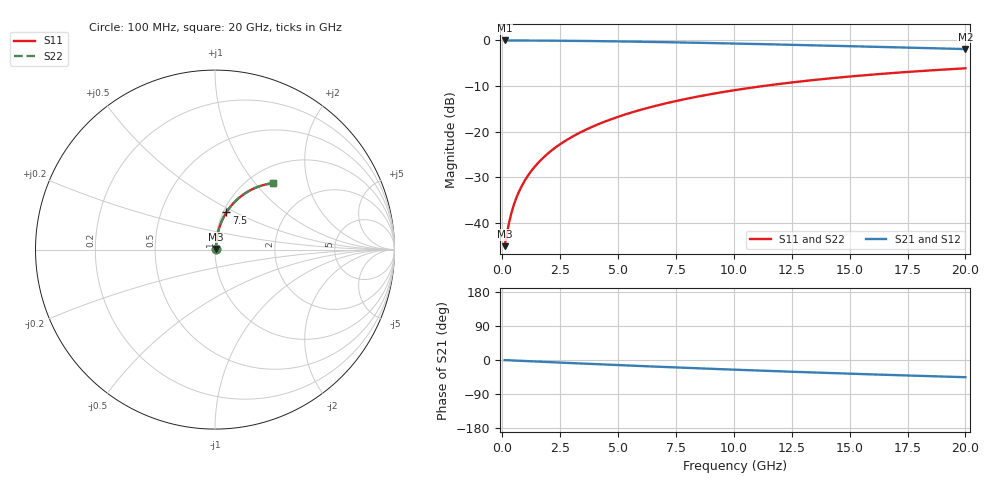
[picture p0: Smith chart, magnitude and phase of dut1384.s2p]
! Touchstone file exported from HFSS 2024.1.0
!  File:  C:/UserFiles/LocalFiles/RDL_TSV_Batchsim/temp_RDL_top_1384_1780367480.aedt
!  Generated:  10:33:32 AM Jun  2, 2026
!  Design:  RDL_top
!  Project:  temp_RDL_top_1384_1780367480
!  Setup:  Setup1
!  Solution:  Sweep
! Variables:
!  dtsv = 10.80580581um
!  hbump = 3um
!  htsv = 51.99um
!  ldown = 100um
!  lrdl = 580.41um
!  p = 40
!  p1 = 55.37um
!  rhole = 1um
!  t = 450um
!  tdown = 3.915915916um
!  trdl = 3.01um
!  wdown = 15.38538539um
!  wrdl = 14.99um
# GHz S MA R 50.000000
! Terminal data exported
! Port[1] = Box2_T1
! Port[2] = Box2_T2
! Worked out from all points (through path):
!   200 points, 100 MHz to 20 GHz, reference 50 ohm
!   highest |S21| = -0.04 dB at 100 MHz (marker M1); lowest = -1.9 dB at 20 GHz (marker M2)
!   group delay of S21, straight-line fit = 6.3 ps
!   lowest |S11| = -45.1 dB at 100 MHz (marker M3), VSWR 1.01, Z = 50.5 + j0.307 ohm
!   |S11| at or under -10 dB: start of sweep to 11.29 GHz
!   |S22| runs from -45.1 to -6.1 dB; largest |S21 - S12| = 2.4e-15
!   S11 on the Smith chart (normalised r, x): 100 MHz: 1.01, +0.01; 7.5 GHz: 1.04, +0.45; 20 GHz: 1.28, +1.25
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0.1  0.005575 33.0  0.9953 -0.3  0.9953 -0.3  0.005575 33.0
! Gamma 0 0 0 0
! Port Impedance 50 0 50 0
0.2  0.007713 51.8  0.9952 -0.6  0.9952 -0.6  0.007713 51.8
0.3  0.01029 61.4  0.9951 -0.8  0.9951 -0.8  0.01029 61.4
0.4  0.01302 67.0  0.9949 -1.1  0.9949 -1.1  0.01302 67.0
0.5  0.01581 70.4  0.9947 -1.4  0.9947 -1.4  0.01581 70.4
0.6  0.01861 72.8  0.9945 -1.7  0.9945 -1.7  0.01861 72.8
0.8  0.02425 75.9  0.9941 -2.2  0.9941 -2.2  0.02425 75.9
1.1  0.03275 78.4  0.9934 -3.0  0.9934 -3.0  0.03275 78.3
1.5  0.04415 79.9  0.9923 -4.1  0.9923 -4.1  0.04415 79.9
1.8  0.05274 80.5  0.9913 -4.9  0.9913 -4.9  0.05274 80.5
2.1  0.06137 80.7  0.9902 -5.8  0.9902 -5.8  0.06137 80.7
2.7  0.07868 80.7  0.9875 -7.4  0.9875 -7.4  0.07868 80.7
3.5  0.1018 80.0  0.983 -9.5  0.983 -9.5  0.1018 80.0
4.2  0.1221 79.1  0.9783 -11.3  0.9783 -11.3  0.1221 79.1
5  0.1452 77.8  0.9722 -13.4  0.9722 -13.4  0.1452 77.8
6.8  0.1966 74.5  0.956 -17.9  0.956 -17.9  0.1966 74.5
7.5  0.2162 73.1  0.949 -19.6  0.949 -19.6  0.2162 73.1
8.7  0.2491 70.6  0.9362 -22.5  0.9362 -22.5  0.2491 70.6
10.1  0.286 67.7  0.9205 -25.7  0.9205 -25.7  0.286 67.7
13.4  0.3661 60.9  0.8811 -32.9  0.8811 -32.9  0.3661 60.9
16.7  0.4351 54.6  0.8407 -39.4  0.8407 -39.4  0.4351 54.5
20  0.4933 48.7  0.8013 -45.4  0.8013 -45.4  0.4932 48.7
